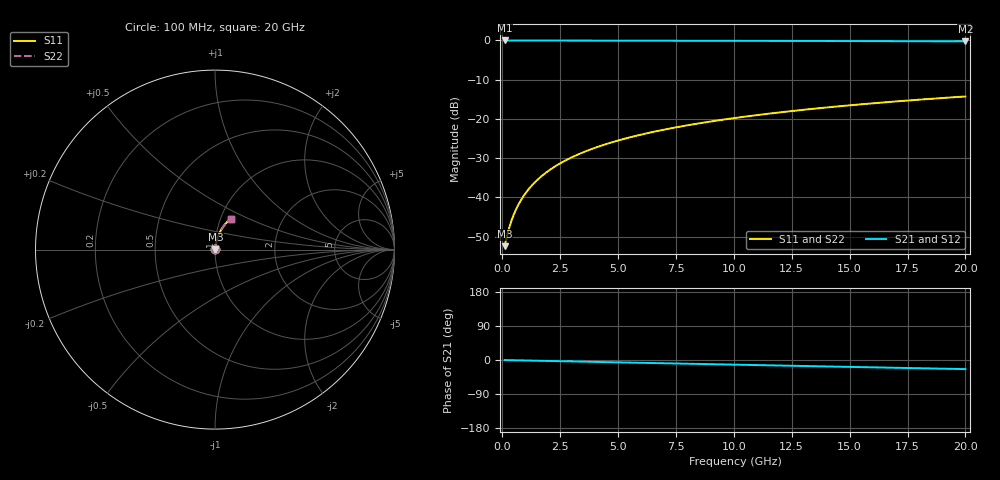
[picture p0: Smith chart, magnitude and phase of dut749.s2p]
! Touchstone file exported from HFSS 2026.1.0
!  File:  C:/ffzhzh/LocalFiles/Ansys_Project_Files/temp_train_TMRDL_749_1783155227_43440.aedt
!  Generated:  04:54:56 PM Jul  4, 2026
!  Design:  TMRDL
!  Project:  temp_train_TMRDL_749_1783155227_43440
! Variables:
!  h_bsmrdl = 2um
!  h_ox = 20um
!  h_rdl = 5um
!  h_sub = 80um
!  h_tmrdl = 4.38um
!  h_tsv = 80um
!  h_via = 3um
!  l_bsmrdl = 300um
!  l_sub = 767.44um
!  l_tmrdl = 367.44um
!  m_sub = 200um
!  pitch = 30.29um
!  r_tsv = 6um
!  s_tmrdl = 10um
!  w_bsmrdl = 18um
!  w_sub = 500um
!  w_tmrdl = 15.52um
!  x_tsv_center1 = 375.2um
!  x_tsv_center2 = 693.2um
!  x_tsv_center3 = 1076.16um
!  x_tsv_center4 = 1394.16um
!  x_tsv_center5 = 1777.12um
!  x_tsv_center6 = 2095.12um
# GHz S MA R 50.000000
! Terminal data exported
! Port[1] = TM_RDL1_1_T1
! Port[2] = TM_RDL1_1_T2
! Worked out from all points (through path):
!   200 points, 100 MHz to 20 GHz, reference 50 ohm
!   highest |S21| = -0.02 dB at 100 MHz (marker M1); lowest = -0.2 dB at 20 GHz (marker M2)
!   group delay of S21, straight-line fit = 3.33 ps
!   lowest |S11| = -52.4 dB at 100 MHz (marker M3), VSWR 1.00, Z = 50.2 + j0.122 ohm
!   |S11| at or under -10 dB: start of sweep to end of sweep
!   |S22| runs from -52.4 to -14.3 dB; largest |S21 - S12| = 6.1e-15
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0.1  0.002387 30.6  0.9979 -0.1  0.9979 -0.1  0.002387 30.6
! Gamma 0 0 0 0
! Port Impedance 50 0 50 0
0.2  0.003197 47.5  0.9979 -0.3  0.9979 -0.3  0.003196 47.5
0.3  0.004119 56.8  0.9978 -0.4  0.9978 -0.4  0.004117 56.8
0.4  0.005082 62.7  0.9977 -0.5  0.9977 -0.5  0.005081 62.7
0.5  0.006073 66.7  0.9976 -0.6  0.9976 -0.6  0.006072 66.7
0.6  0.007085 69.7  0.9975 -0.8  0.9975 -0.8  0.007084 69.7
0.8  0.009149 73.5  0.9975 -1.0  0.9975 -1.0  0.009148 73.6
1  0.01125 75.9  0.9974 -1.3  0.9974 -1.3  0.01125 75.9
1.2  0.01336 77.5  0.9973 -1.5  0.9973 -1.5  0.01336 77.5
1.4  0.01548 78.5  0.9972 -1.8  0.9972 -1.8  0.01548 78.5
1.7  0.01866 79.4  0.997 -2.1  0.997 -2.1  0.01866 79.4
2.2  0.02396 80.2  0.9968 -2.8  0.9968 -2.8  0.02396 80.2
2.8  0.03027 80.4  0.9963 -3.5  0.9963 -3.5  0.03027 80.4
3.5  0.03758 80.2  0.9958 -4.4  0.9958 -4.4  0.03758 80.2
4.2  0.0448 79.8  0.9951 -5.3  0.9951 -5.3  0.0448 79.8
5  0.05297 79.1  0.9943 -6.2  0.9943 -6.2  0.05297 79.1
6.8  0.07103 77.4  0.9923 -8.4  0.9923 -8.4  0.07103 77.4
8.3  0.08576 75.8  0.9904 -10.2  0.9904 -10.2  0.08576 75.8
10.1  0.1031 73.9  0.988 -12.4  0.988 -12.4  0.1031 73.9
13.4  0.1341 70.4  0.9833 -16.3  0.9833 -16.3  0.1341 70.4
16.7  0.1641 66.8  0.9779 -20.2  0.9779 -20.2  0.1641 66.8
20  0.1929 63.2  0.972 -24.0  0.972 -24.0  0.1929 63.2
